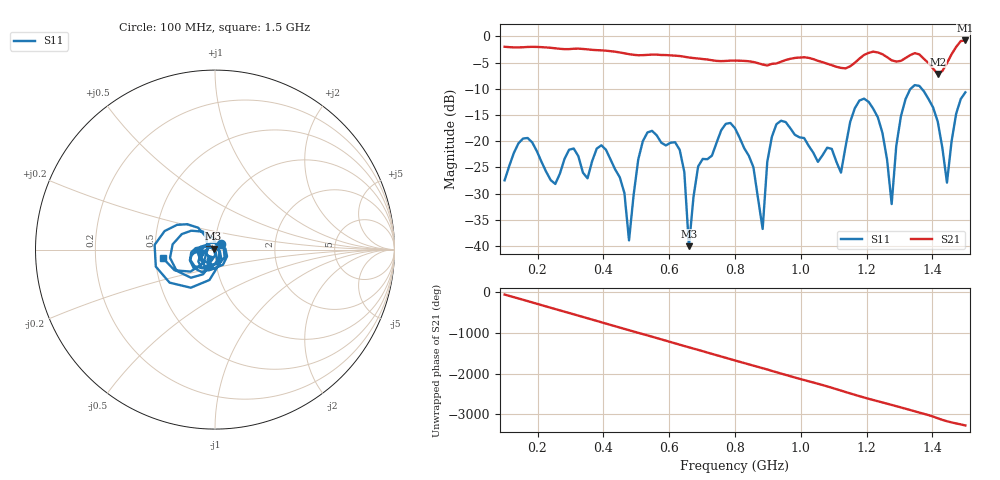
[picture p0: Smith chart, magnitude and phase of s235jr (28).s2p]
! NanoVNA-App
! Date: 2025-09-25 15:04:22
! Start: 100MHz Stop: 1,5GHz Points: 101
! S-Parameter data: F S11 S21 S12 S22
# Hz S RI R 50
!  Frequency  S11_Real  S11_Imag  S21_Real  S21_Imag  S12_Real  S12_Imag  S22_Real  S22_Imag
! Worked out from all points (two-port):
!   101 points, 100 MHz to 1.5 GHz, reference 50 ohm
!   highest |S21| = -0.76 dB at 1.5 GHz (marker M1); lowest = -7.2 dB at 1.416 GHz (marker M2)
!   |S21| within 3 dB of the highest: start of sweep to 634.6 MHz; 1.187 GHz to 1.257 GHz (69.85 MHz wide, 5.71 % of centre) (the widest 2 of 4)
!   lowest |S11| = -40.1 dB at 660 MHz (marker M3), VSWR 1.02, Z = 49.2 + j0.588 ohm
!   |S11| at or under -10 dB: start of sweep to 1.334 GHz; 1.368 GHz to end of sweep
!   S12 and S22 are empty: the file has one direction only
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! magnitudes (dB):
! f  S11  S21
! 100 MHz  -27.5  -2.0
! 170 MHz  -19.4  -2.0
! 338 MHz  -26.0  -2.4
! 408 MHz  -21.6  -2.7
! 478 MHz  -39.0  -3.4
! 520 MHz  -20.0  -3.6
! 576 MHz  -20.3  -3.5
! 632 MHz  -21.7  -3.7
! 660 MHz  -40.1  -4.0
! 688 MHz  -24.8  -4.2
! 800 MHz  -17.5  -4.6
! 884 MHz  -36.8  -5.4
! 926 MHz  -16.7  -5.2
! 1.038 GHz  -22.2  -4.3
! 1.122 GHz  -26.0  -6.0
! 1.192 GHz  -11.9  -3.5
! 1.248 GHz  -18.4  -3.4
! 1.276 GHz  -32.0  -4.6
! 1.332 GHz  -10.1  -3.6
! 1.416 GHz  -16.3  -7.2
! 1.444 GHz  -27.9  -5.1
! 1.5 GHz  -10.7  -0.8
